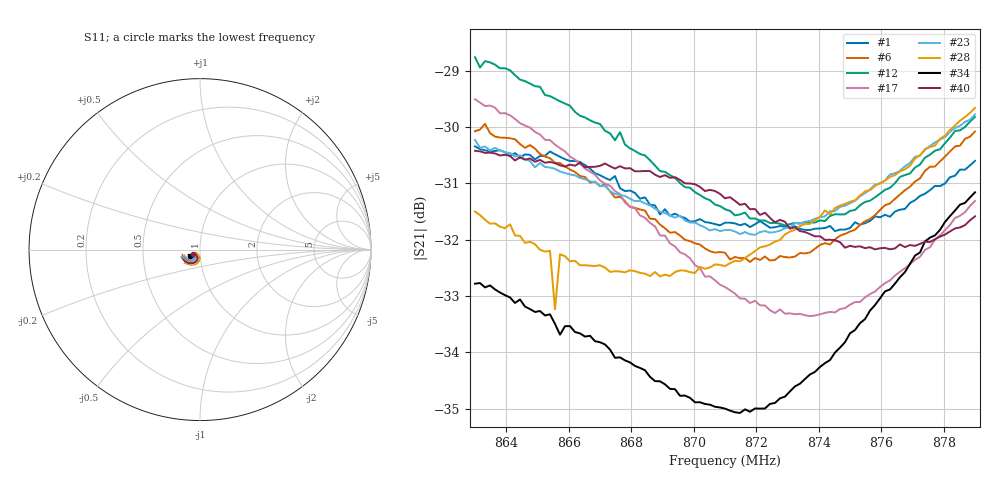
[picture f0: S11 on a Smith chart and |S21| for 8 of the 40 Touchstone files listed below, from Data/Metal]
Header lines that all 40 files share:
# HZ S RI R 50
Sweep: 863 MHz to 879 MHz
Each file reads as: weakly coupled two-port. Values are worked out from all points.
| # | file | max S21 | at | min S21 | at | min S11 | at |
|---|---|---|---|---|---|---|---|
| 1 | mo0s0.s2p | -30.34 dB | 863 MHz | -31.8 dB | 874.52 MHz | -25.9 dB | 864.92 MHz |
| 2 | mo0s2.s2p | -29.81 dB | 863.16 MHz | -31.7 dB | 872.6 MHz | -26.1 dB | 865.4 MHz |
| 3 | mo0s3.s2p | -29.70 dB | 879 MHz | -31.4 dB | 872.6 MHz | -25.1 dB | 865.56 MHz |
| 4 | mo0s4.s2p | -30.47 dB | 863 MHz | -33.1 dB | 873.08 MHz | -25.5 dB | 865.4 MHz |
| 5 | mo0s5.s2p | -28.62 dB | 879 MHz | -29.9 dB | 871.8 MHz | -21.8 dB | 863.96 MHz |
| 6 | mo0s6.s2p | -29.94 dB | 863.32 MHz | -32.4 dB | 871.8 MHz | -22.7 dB | 864.92 MHz |
| 7 | mo0s7.s2p | -30.79 dB | 863.16 MHz | -33.1 dB | 874.04 MHz | -27.5 dB | 864.44 MHz |
| 8 | mo0s8.s2p | -28.72 dB | 879 MHz | -30.2 dB | 871.32 MHz | -23.6 dB | 863.96 MHz |
| 9 | mo0s9.s2p | -28.61 dB | 879 MHz | -30.5 dB | 870.36 MHz | -26.0 dB | 863.32 MHz |
| 10 | mo0s10.s2p | -29.15 dB | 879 MHz | -32.0 dB | 871.32 MHz | -26.5 dB | 865.24 MHz |
| 11 | mo0s11.s2p | -28.08 dB | 879 MHz | -29.6 dB | 872.44 MHz | -27.2 dB | 863.32 MHz |
| 12 | mo1s3.s2p | -28.76 dB | 863 MHz | -31.7 dB | 872.92 MHz | -24.2 dB | 863.16 MHz |
| 13 | mo1s4.s2p | -31.13 dB | 863.16 MHz | -35.0 dB | 873.4 MHz | -27.5 dB | 865.24 MHz |
| 14 | mo1s7.s2p | -29.93 dB | 879 MHz | -34.2 dB | 870.36 MHz | -33.9 dB | 865.4 MHz |
| 15 | mo1s8.s2p | -28.75 dB | 879 MHz | -31.2 dB | 871.8 MHz | -26.4 dB | 863.96 MHz |
| 16 | mo1s9.s2p | -28.51 dB | 879 MHz | -31.2 dB | 871.32 MHz | -29.0 dB | 863 MHz |
| 17 | mo1s12.s2p | -29.50 dB | 863 MHz | -33.4 dB | 873.72 MHz | -24.7 dB | 864.44 MHz |
| 18 | mo2s0.s2p | -29.88 dB | 863 MHz | -32.0 dB | 872.6 MHz | -23.3 dB | 864.44 MHz |
| 19 | mo2s1.s2p | -29.43 dB | 879 MHz | -31.9 dB | 868.92 MHz | -31.8 dB | 867.8 MHz |
| 20 | mo2s2.s2p | -28.33 dB | 879 MHz | -31.1 dB | 866.52 MHz | -33.3 dB | 866.04 MHz |
| 21 | mo2s5.s2p | -26.24 dB | 879 MHz | -28.1 dB | 866.36 MHz | -36.4 dB | 863 MHz |
| 22 | mo3s0.s2p | -29.49 dB | 863.16 MHz | -31.6 dB | 872.6 MHz | -25.3 dB | 863.96 MHz |
| 23 | mo3s2.s2p | -29.77 dB | 879 MHz | -31.9 dB | 871.96 MHz | -24.5 dB | 866.04 MHz |
| 24 | mo3s3.s2p | -29.34 dB | 863.16 MHz | -33.0 dB | 872.44 MHz | -24.0 dB | 865.88 MHz |
| 25 | mo3s4.s2p | -26.40 dB | 879 MHz | -28.7 dB | 865.72 MHz | -27.9 dB | 863 MHz |
| 26 | mo3s5.s2p | -30.69 dB | 879 MHz | -33.1 dB | 872.12 MHz | -24.7 dB | 866.04 MHz |
| 27 | mo3s6.s2p | -29.33 dB | 879 MHz | -31.9 dB | 864.44 MHz | -26.0 dB | 864.12 MHz |
| 28 | mo4s1.s2p | -29.66 dB | 879 MHz | -33.2 dB | 865.56 MHz | -31.4 dB | 864.12 MHz |
| 29 | mo4s2.s2p | -31.26 dB | 863 MHz | -33.6 dB | 872.6 MHz | -32.0 dB | 868.12 MHz |
| 30 | mo4s3.s2p | -29.85 dB | 879 MHz | -31.5 dB | 871.8 MHz | -27.9 dB | 866.84 MHz |
| 31 | mo4s4.s2p | -30.09 dB | 879 MHz | -33.7 dB | 866.52 MHz | -31.2 dB | 866.04 MHz |
| 32 | mo4s7.s2p | -30.20 dB | 879 MHz | -33.7 dB | 867.8 MHz | -30.3 dB | 866.04 MHz |
| 33 | mo4s8.s2p | -29.52 dB | 879 MHz | -32.0 dB | 871 MHz | -34.0 dB | 864.6 MHz |
| 34 | mo4s9.s2p | -31.16 dB | 879 MHz | -35.1 dB | 871.48 MHz | -25.5 dB | 867.96 MHz |
| 35 | mo5s0.s2p | -31.48 dB | 864.12 MHz | -34.7 dB | 875 MHz | -30.0 dB | 867.8 MHz |
| 36 | mo5s1.s2p | -30.14 dB | 863 MHz | -33.1 dB | 876.92 MHz | -26.1 dB | 865.56 MHz |
| 37 | mo5s3.s2p | -30.13 dB | 863 MHz | -32.7 dB | 876.6 MHz | -25.6 dB | 866.68 MHz |
| 38 | mo5s4.s2p | -29.91 dB | 863.48 MHz | -32.4 dB | 876.76 MHz | -28.0 dB | 865.24 MHz |
| 39 | mo5s5.s2p | -30.49 dB | 864.44 MHz | -32.4 dB | 878.2 MHz | -26.0 dB | 864.44 MHz |
| 40 | mo5s6.s2p | -30.42 dB | 863 MHz | -32.2 dB | 875.8 MHz | -28.3 dB | 865.24 MHz |
